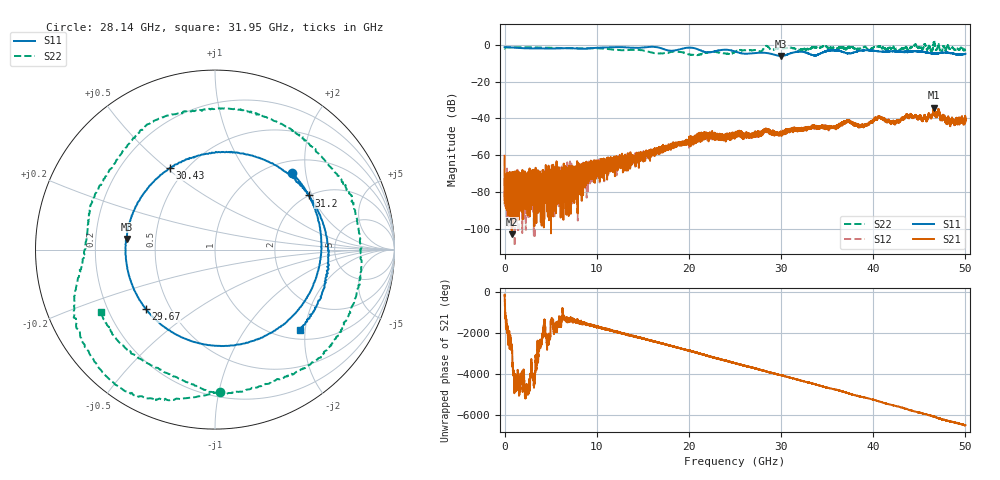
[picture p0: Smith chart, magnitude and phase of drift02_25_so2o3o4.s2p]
!Created with skrf (http://scikit-rf.org).
# Hz S RI R 50.0
!freq ReS11 ImS11 ReS21 ImS21 ReS12 ImS12 ReS22 ImS22
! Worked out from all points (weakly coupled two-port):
!   10001 points, 300 kHz to 50 GHz, reference 50 ohm
!   highest |S21| = -34.23 dB at 46.59 GHz (marker M1); lowest = -102.9 dB at 780.3 MHz (marker M2)
!   lowest |S11| = -6.1 dB at 30.02 GHz (marker M3), VSWR 2.97, Z = 16.9 + j2.65 ohm
!   |S11| at or under -10 dB: nowhere
!   |S22| runs from -5.7 to 2.3 dB; largest |S21 - S12| = 0.0033
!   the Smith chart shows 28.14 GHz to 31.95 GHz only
!   S11 on the Smith chart (normalised r, x): 28.14 GHz: 1.26, +1.69; 29.67 GHz: 0.37, -0.33; 30.43 GHz: 0.41, +0.51; 31.2 GHz: 2.00, +1.90; 31.95 GHz: 1.21, -1.88
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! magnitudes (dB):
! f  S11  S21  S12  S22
! 300 kHz  -1.3  -60.3  -61.9  -2.1
! 255.3 MHz  -1.4  -81.6  -93.7  -1.4
! 780.3 MHz  -1.5  -102.9  -87.2  -1.5
! 3.93 GHz  -2.0  -96.4  -80.8  -1.5
! 8.335 GHz  -2.2  -69.7  -70.5  -1.9
! 16.67 GHz  -1.5  -58.8  -56.4  -4.7
! 21.56 GHz  -3.7  -49.5  -48.4  -4.7
! 25 GHz  -3.7  -49.7  -49.0  -3.9
! 28.14 GHz  -4.4  -46.7  -47.1  -2.0
! 29.67 GHz  -5.9  -48.3  -48.5  -2.1
! 30.02 GHz  -6.1  -48.1  -48.0  -2.0
! 30.43 GHz  -5.7  -46.3  -46.7  -1.9
! 31.2 GHz  -4.4  -46.8  -46.3  -1.7
! 31.95 GHz  -3.7  -45.5  -46.0  -2.8
! 33.34 GHz  -5.5  -44.7  -44.7  -1.6
! 37.27 GHz  -4.7  -41.0  -41.3  -1.4
! 38.93 GHz  -3.1  -44.1  -44.3  -1.5
! 40.64 GHz  -3.7  -39.2  -39.2  -1.0
! 41.67 GHz  -3.6  -41.2  -41.3  -1.9
! 46.59 GHz  -4.7  -34.2  -34.5  2.2
! 48.55 GHz  -4.7  -42.0  -41.2  -1.6
! 50 GHz  -4.9  -40.0  -40.5  -2.7
